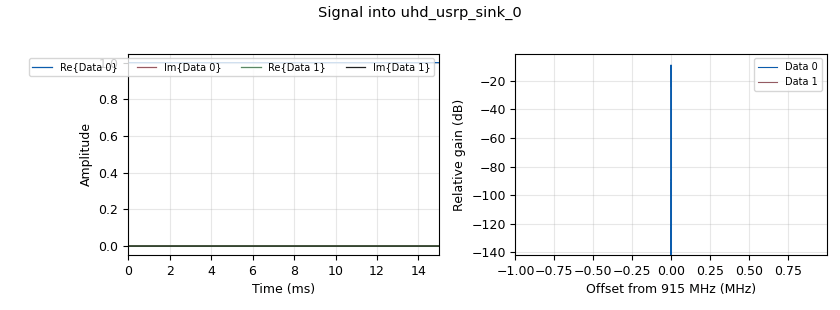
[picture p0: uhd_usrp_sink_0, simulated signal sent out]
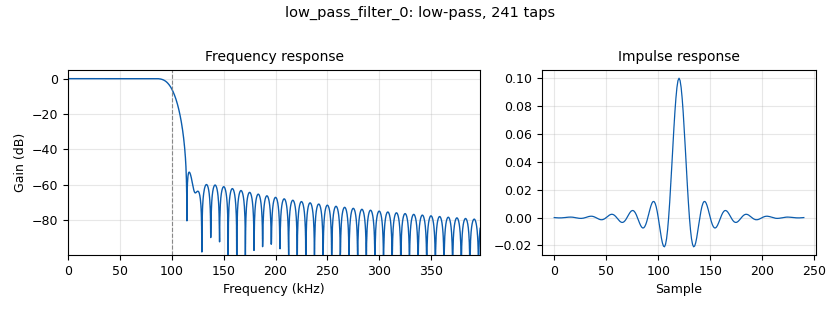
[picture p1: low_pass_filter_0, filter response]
options:
  parameters:
    generate_options: qt_gui
    id: mp_testing
    output_language: python
    title: Not titled yet
  states: {}

blocks:
- name: Decimation
  id: variable
  parameters:
    value: '20'
  states: {}
- name: FRx
  id: variable
  parameters:
    value: 2*FTx-RxShift
  states: {}
- name: FTx
  id: variable
  parameters:
    value: 915e6
  states: {}
- name: GRx
  id: variable_qtgui_entry
  parameters:
    label: Receive Gain [dBFS?]
    type: real
    value: '30'
  states: {}
- name: GTx
  id: variable_qtgui_entry
  parameters:
    label: Transmit Gain [dBFS?]
    type: real
    value: '60'
  states: {}
- name: Length
  id: variable
  parameters:
    value: '1024'
  states: {}
- name: RxShift
  id: variable
  parameters:
    value: 0.2e6
  states: {}
- name: StartSwp
  id: variable_qtgui_check_box
  parameters:
    'false': 'False'
    label: Start Sweep?
    'true': 'True'
    type: int
    value: 'False'
  states: {}
- name: Track
  id: variable_qtgui_check_box
  parameters:
    'false': 'False'
    label: Begin Tracking
    'true': 'True'
    type: int
    value: 'False'
  states: {}
- name: prefix
  id: variable_qtgui_entry
  parameters:
    label: File Name
    type: string
    value: Date_Test
  states: {}
- name: samp_rate_src
  id: variable
  parameters:
    value: 2e6
  states: {}
- name: analog_sig_source_x_0
  id: analog_sig_source_x
  parameters:
    amp: '1'
    freq: '0'
    offset: '0'
    phase: '0'
    samp_rate: samp_rate_src
    type: complex
    waveform: analog.GR_CONST_WAVE
  states: {}
- name: analog_sig_source_x_0_0
  id: analog_sig_source_x
  parameters:
    amp: '0'
    freq: '0'
    offset: '0'
    phase: '0'
    samp_rate: samp_rate_src
    type: complex
    waveform: analog.GR_CONST_WAVE
  states: {}
- name: analog_sig_source_x_1
  id: analog_sig_source_x
  parameters:
    amp: '0'
    freq: '0'
    offset: '0'
    phase: '0'
    samp_rate: samp_rate_src/Decimation
    type: float
    waveform: analog.GR_CONST_WAVE
  states: {}
- name: blocks_add_xx_0
  id: blocks_add_xx
  parameters:
    type: float
  states: {}
- name: blocks_add_xx_0_0
  id: blocks_add_xx
  parameters:
    type: float
  states: {}
- name: blocks_add_xx_0_0_0
  id: blocks_add_xx
  parameters:
    type: float
  states: {}
- name: blocks_add_xx_1
  id: blocks_add_xx
  parameters:
    type: complex
  states: {}
- name: blocks_complex_to_float_0
  id: blocks_complex_to_float
  parameters: {}
  states: {}
- name: blocks_complex_to_float_0_0
  id: blocks_complex_to_float
  parameters: {}
  states: {}
- name: blocks_complex_to_mag_squared_0
  id: blocks_complex_to_mag_squared
  parameters:
    vlen: Length
  states: {}
- name: blocks_complex_to_mag_squared_0_0
  id: blocks_complex_to_mag_squared
  parameters:
    vlen: Length
  states: {}
- name: blocks_complex_to_mag_squared_0_1
  id: blocks_complex_to_mag_squared
  parameters:
    vlen: Length
  states: {state: disabled}
- name: blocks_complex_to_mag_squared_0_1_0
  id: blocks_complex_to_mag_squared
  parameters:
    vlen: Length
  states: {}
- name: blocks_complex_to_mag_squared_0_1_0_0
  id: blocks_complex_to_mag_squared
  parameters:
    vlen: Length
  states: {}
- name: blocks_divide_xx_0
  id: blocks_divide_xx
  parameters:
    type: float
  states: {}
- name: blocks_divide_xx_0_0
  id: blocks_divide_xx
  parameters:
    type: float
  states: {}
- name: blocks_float_to_complex_0
  id: blocks_float_to_complex
  parameters: {}
  states: {state: disabled}
- name: blocks_freqshift_cc_0
  id: blocks_freqshift_cc
  parameters:
    freq: '-1*(RxShift)'
    sample_rate: samp_rate_src
  states: {}
- name: blocks_freqshift_cc_0_0
  id: blocks_freqshift_cc
  parameters:
    freq: '-1*RxShift'
    sample_rate: samp_rate_src
  states: {}
- name: blocks_max_xx_1
  id: blocks_max_xx
  parameters:
    type: float
    vlen: Length
    vlen_out: '1'
  states: {}
- name: blocks_max_xx_1_0
  id: blocks_max_xx
  parameters:
    type: float
    vlen: Length
    vlen_out: '1'
  states: {}
- name: blocks_max_xx_1_1
  id: blocks_max_xx
  parameters:
    type: float
    vlen: Length
    vlen_out: '1'
  states: {state: disabled}
- name: blocks_max_xx_1_1_0
  id: blocks_max_xx
  parameters:
    type: float
    vlen: Length
    vlen_out: '1'
  states: {}
- name: blocks_max_xx_1_1_0_0
  id: blocks_max_xx
  parameters:
    type: float
    vlen: Length
    vlen_out: '1'
  states: {}
- name: blocks_message_strobe_0
  id: blocks_message_strobe
  parameters:
    msg: pmt.intern("TEST")
    period: '100'
  states: {}
- name: blocks_multiply_const_xx_0
  id: blocks_multiply_const_xx
  parameters:
    const: 1/Length
    type: complex
    vlen: Length
  states: {}
- name: blocks_multiply_const_xx_0_0
  id: blocks_multiply_const_xx
  parameters:
    const: 1/Length
    type: complex
    vlen: Length
  states: {}
- name: blocks_multiply_const_xx_0_1
  id: blocks_multiply_const_xx
  parameters:
    const: 1/Length
    type: complex
    vlen: Length
  states: {state: disabled}
- name: blocks_multiply_const_xx_0_2
  id: blocks_multiply_const_xx
  parameters:
    const: 1/1024
    type: complex
    vlen: Length
  states: {}
- name: blocks_multiply_const_xx_0_2_0
  id: blocks_multiply_const_xx
  parameters:
    const: 1/1024
    type: complex
    vlen: Length
  states: {}
- name: blocks_multiply_xx_0
  id: blocks_multiply_xx
  parameters:
    type: float
  states: {}
- name: blocks_multiply_xx_0_0
  id: blocks_multiply_xx
  parameters:
    type: float
  states: {}
- name: blocks_multiply_xx_0_0_0
  id: blocks_multiply_xx
  parameters:
    type: float
  states: {}
- name: blocks_multiply_xx_0_0_0_0
  id: blocks_multiply_xx
  parameters:
    type: float
  states: {}
- name: blocks_multiply_xx_0_0_1
  id: blocks_multiply_xx
  parameters:
    type: float
  states: {}
- name: blocks_multiply_xx_0_1
  id: blocks_multiply_xx
  parameters:
    type: float
  states: {}
- name: blocks_multiply_xx_0_1_0
  id: blocks_multiply_xx
  parameters:
    type: float
  states: {}
- name: blocks_multiply_xx_0_2
  id: blocks_multiply_xx
  parameters:
    type: float
  states: {}
- name: blocks_nlog10_ff_0
  id: blocks_nlog10_ff
  parameters:
    k: '0'
    n: '10'
    vlen: Length
  states: {}
- name: blocks_nlog10_ff_0_0
  id: blocks_nlog10_ff
  parameters:
    k: '0'
    n: '10'
    vlen: Length
  states: {}
- name: blocks_nlog10_ff_0_1
  id: blocks_nlog10_ff
  parameters:
    k: '0'
    n: '10'
    vlen: Length
  states: {state: disabled}
- name: blocks_nlog10_ff_0_2
  id: blocks_nlog10_ff
  parameters:
    k: '0'
    n: '10'
    vlen: Length
  states: {}
- name: blocks_nlog10_ff_0_2_0
  id: blocks_nlog10_ff
  parameters:
    k: '0'
    n: '10'
    vlen: Length
  states: {}
- name: blocks_null_sink_0
  id: blocks_null_sink
  parameters:
    type: float
  states: {state: disabled}
- name: blocks_phase_shift_0
  id: blocks_phase_shift
  parameters:
    is_radians: 'True'
    shift: '0'
  states: {}
- name: blocks_phase_shift_0_0
  id: blocks_phase_shift
  parameters:
    is_radians: 'True'
    shift: '0'
  states: {}
- name: blocks_stream_to_vector_0
  id: blocks_stream_to_vector
  parameters:
    num_items: Length
    type: float
  states: {}
- name: blocks_stream_to_vector_0_0
  id: blocks_stream_to_vector
  parameters:
    num_items: Length
    type: float
  states: {}
- name: blocks_stream_to_vector_0_1
  id: blocks_stream_to_vector
  parameters:
    num_items: Length
    type: complex
  states: {state: disabled}
- name: blocks_stream_to_vector_0_2
  id: blocks_stream_to_vector
  parameters:
    num_items: Length
    type: complex
  states: {}
- name: blocks_stream_to_vector_0_2_0
  id: blocks_stream_to_vector
  parameters:
    num_items: Length
    type: complex
  states: {}
- name: blocks_sub_xx_0
  id: blocks_sub_xx
  parameters:
    type: float
  states: {}
- name: blocks_sub_xx_1
  id: blocks_sub_xx
  parameters:
    type: float
  states: {}
- name: blocks_sub_xx_2
  id: blocks_sub_xx
  parameters:
    type: complex
  states: {}
- name: epy_block_1
  id: epy_block
  parameters:
    BW: 1e3
    CenterFreq: 1.83e9
    Length: Length
    SignalFreq: 1.83e9
    _source_code: |
      """
      Embedded Python Blocks:

      Each time this file is saved, GRC will instantiate the first class it finds
      to get ports and parameters of your block. The arguments to __init__  will
      be the parameters. All of them are required to have default values!
      """

      import numpy as np
      from gnuradio import gr


      class PhaseDiff(gr.sync_block):  # other base classes are basic_block, decim_block, interp_block
          """Embedded Python Block example - a simple multiply const"""

          def __init__(self, Length = 1024,CenterFreq = 0,SignalFreq = 0,BW=0,samp_rate = 1000):  # only default arguments here
              """arguments to this function show up as parameters in GRC"""
              gr.sync_block.__init__(
                  self,
                  name='Calculate Phase Shift',   # will show up in GRC
                  in_sig=[(np.complex64, Length),(np.complex64, Length)],
                  out_sig=[np.float32]
              )
              # if an attribute with the same name as a parameter is found,
              # a callback is registered (properties work, too).
              
              self.signal_ind = int((Length/samp_rate)*(SignalFreq-CenterFreq)+Length/2)
              self.Start = int((Length/samp_rate)*(SignalFreq-CenterFreq-BW)+Length/2)
              print("Start Index: ",self.Start,"\n")
              self.End = int((Length/samp_rate)*(SignalFreq-CenterFreq+BW)+Length/2)
              print("Stop Index: ",self.End,"\n")
              self.Length =Length
              self.CenterFreq = CenterFreq
              self.SignalFreq = SignalFreq
              self.BW = BW
              self.samp_rate = samp_rate

          def work(self, input_items, output_items):
              #print("In0 size FFT @ f0:   ",np.shape(input_items[0][0][self.Start:self.End]),"\n")
              #print("In1 size FFT @ f0:   ",np.shape(input_items[1][0][self.Start:self.End]),"\n")
              if self.BW!=0:
                  crltn = np.correlate(input_items[0][0][self.Start:self.End],input_items[1][0][self.Start:self.End])
              else:
                  crltn = input_items[0][0][self.Start]*input_items[1][0][self.Start]
              #crltn = np.correlate(input_items[0][0][self.signal_ind],input_items[1][0][self.signal_ind])

              diff = np.angle(crltn)
             
              output_items[0][:] = diff

              return len(output_items[0])
    samp_rate: samp_rate_src/Decimation
  states: {}
- name: epy_block_2
  id: epy_block
  parameters:
    Spacing: '1'
    Tolerance: '0.01'
    Track: Track
    _source_code: |-
      """
      Embedded Python Blocks:

      Each time this file is saved, GRC will instantiate the first class it finds
      to get ports and parameters of your block. The arguments to __init__  will
      be the parameters. All of them are required to have default values!
      """

      import numpy as np
      from gnuradio import gr
      import pmt

      class Tracker(gr.sync_block):  # other base classes are basic_block, decim_block, interp_block
          """Controller to track signal by minimizing monopulse ratio. Input 1 should be the log magnitude of the monopulse
          ratio and Input 2 the phase shift between difference and sum. Input message (Ts) determines when
          controller is updated and should be polled regularly, actual message content is irrelevant. 
          Output phase is in radians and computed tracking angle in degrees, formatted for az/el sink.

          \n Inputs:
          \n Track - Boolean to activate/deactivate tracking
          \n Spacing - Element spacing in wavelengths 
          \n Tolerance - Phase tolerance for target lock"""

          def __init__(self, Track = False,Spacing = 0.5,Tolerance = 0.005,alpha = 0.1 ):  # only default arguments here
              """arguments to this function show up as parameters in GRC"""
              gr.sync_block.__init__(
                  self,
                  name='Tracking Controller',   # will show up in GRC
                  in_sig=[np.float32,np.float32],
                  out_sig=None
              )

              self.message_port_register_out(pmt.intern('phase'))
              self.message_port_register_out(pmt.intern('az'))
              self.message_port_register_out(pmt.intern('Lock'))
              self.message_port_register_out(pmt.intern('steer_angle'))

              self.message_port_register_in(pmt.intern('Ts'))

              self.set_msg_handler(pmt.intern('Ts'), self.handle_msg)

              # if an attribute with the same name as a parameter is found,
              # a callback is registered (properties work, too).
              self.Track = Track
              self.phase = 0          # Phase shift applied to steer beam
              self.Lock = False
              self.Spacing = Spacing
              self.Tolerance = Tolerance
              #self.null = null
              self.mp1 = 100
              self.alpha = alpha  
              
          def handle_msg(self,msg):
              ang_deg = np.rad2deg(np.arcsin(self.phase/(2*np.pi*self.Spacing)))
              self.message_port_pub(pmt.intern("az"), pmt.cons(pmt.to_pmt({"az": ang_deg, "el": 0}),pmt.to_pmt(None)))

              if self.Track:
                  self.message_port_pub(pmt.intern("phase"), pmt.cons(pmt.intern("shift"),pmt.to_pmt(self.phase)))
                  self.message_port_pub(pmt.intern("steer_angle"), pmt.cons(pmt.intern("ampl"),pmt.to_pmt(ang_deg)))
                  self.message_port_pub(pmt.intern("Lock"), pmt.cons(pmt.intern("ampl"),pmt.to_pmt(self.Lock)))

                  if self.Lock:
                      print("Target Found")
                  

              return

          def work(self, input_items, output_items):
              if self.Track:

                  self.Lock = False
                  # if (abs(input_items[1][0]) <self.Tolerance)and(input_items[0][0]< self.null):
                  #     self.Lock = True

                  # elif input_items[1][0]<0:
                  #     self.phase = self.phase-0.005
                  # elif input_items[1][0]>0:
                  #     self.phase = self.phase+0.005
                  # if abs(self.phase)>180:
                  #     print("Boundary reached, rotate array")
                  side = np.sign(input_items[1][0])

                  if input_items[0][0]<self.mp1:
                      self.phase +=side*self.alpha
                  self.mp1 = input_items[0][0]

              return len(input_items[0])
    alpha: '0.005'
  states: {}
- name: epy_block_3
  id: epy_block
  parameters:
    Average: '10'
    Prefix: prefix
    Spacing: '1'
    Start: '-30'
    Step: '0.5'
    Stop: '30'
    Sweep: StartSwp
    _source_code: |
      """
      Embedded Python Blocks:

      Each time this file is saved, GRC will instantiate the first class it finds
      to get ports and parameters of your block. The arguments to __init__  will
      be the parameters. All of them are required to have default values!
      """

      import numpy as np
      import pmt
      from gnuradio import gr


      class MPSweep(gr.sync_block):  
          """Sweep block to sweep phase and measure 4 quantities. Output is saved as two .npy files. 
          _x_out.npy contains the phase for each measurement and _data.npy has the input data stored 
          as a 4xn matrix where each row is the corresponding input. 
          \n Inputs:
          \n Sweep - Boolean, when true, sweep is initiated
          \n Start - Starting Value
          \n Stop - Ending Value
          \n Step - Resolution of sweep
          \n sample_buffer - This sets a number of data-buffers to be discarded in between measurements
          \n Average - Number of measurements to average when saveing data
          \n Prefix - String to append to the start of filename"""

          def __init__(self, Sweep = False,Start = 0,Stop =12,Step = 0.5,sample_buffer=10, Average = 1,Spacing = 1,Prefix = ""):  # only default arguments here
              """arguments to this function show up as parameters in GRC"""
              gr.sync_block.__init__(
                  self,
                  name='Sweep Controller 03',   
                  in_sig=[np.float32,np.float32,np.float32,np.float32],

                  out_sig=None
              )


              self.message_port_register_out(pmt.intern('out'))
              
              #self.message_port_register_in(pmt.intern('Value_Set'))
              #self.set_msg_handler(pmt.intern('Value_Set'), self.handle_msg)

              # if an attribute with the same name as a parameter is found,
              # a callback is registered (properties work, too).

              inputs = 4   # Used in construction only to define array sizes

              
              self.Sweep = Sweep
              self.Start = Start
              self.Spacing = Spacing
              self.Stop = Stop
              self.Step = Step
              self.Average = Average
              self.avgVec = np.empty((inputs,Average))
              #print("avgVec Size",self.avgVec.shape,"\n")
              self.Prefix = Prefix

              

              
              self.state = 0
              self.steering_angle = np.arange(self.Start,self.Stop+self.Step,self.Step)
              self.steering_phase = 2*np.pi*self.Spacing*np.sin(np.deg2rad(self.steering_angle))
              self.SwpVar = self.steering_phase[0]
              self.data = np.empty((inputs,len(self.steering_phase)))
              #print("data Size",self.data.shape,"\n")

              self.sample_buffer = sample_buffer
              self.counter  = sample_buffer
              self.index = 0


          def work(self, input_items, output_items):


              match self.state:
                  case 0:
                      if self.Sweep == True: #Log initial value
                          #self.message_port_pub(pmt.intern("out"), pmt.cons(pmt.intern("shift"),pmt.to_pmt(np.deg2rad(self.SwpVar))))
                          self.message_port_pub(pmt.intern("out"), pmt.cons(pmt.intern("shift"),pmt.to_pmt(self.SwpVar)))

                          self.counter = self.sample_buffer
                          self.state = 2  

                          print("\nDatapoints: ",len(self.steering_phase))
                          print("Size of Output: ",np.shape(self.data))
                          print("Running Sweep... \n")


                  case 1: # Update phase value

                          #self.SwpVar += self.Step
                          self.SwpVar = self.steering_phase[self.index]
                          #self.message_port_pub(pmt.intern("out"), pmt.cons(pmt.intern("shift"),pmt.to_pmt(np.deg2rad(self.SwpVar))))
                          self.message_port_pub(pmt.intern("out"), pmt.cons(pmt.intern("shift"),pmt.to_pmt(self.SwpVar)))

                          self.counter = self.sample_buffer
                          self.state = 2


                  case 2: #Wait for buffer time
                      self.counter -= 1
                      if self.counter < 0:
                          self.counter = self.Average
                          self.state = 5


                  case 5: #Average values
                      self.counter -= 1
                      in0 = np.sum(input_items[0])/len(input_items[0])#input_items[0][0]
                      in1 = np.sum(input_items[1])/len(input_items[1])#input_items[1][0]
                      in2 = np.sum(input_items[2])/len(input_items[2])#input_items[2][0]
                      in3 = np.sum(input_items[3])/len(input_items[3])#input_items[3][0]
                      self.avgVec[:,self.counter] = np.array([[in0],[in1],[in2],[in3]])[:,0]

                      if self.counter < 0:
                          self.state = 3

                  case 3: #Log value
                      #print("Phase",self.SwpVar,"\n")
                      #print("Sample Vector: ",self.avgVec,"\n")
                      avg = (np.divide(np.sum(self.avgVec,axis=1),len(self.avgVec[0,:])))
                      #print("Saving value:  ",avg.reshape(4,1),"\n")

                      self.data[:,self.index] = avg.reshape(4,1)[:,0]
                      #print("Saved:  ",self.data[:,self.index],"\n")
                      self.index+=1
                      #print("Index",self.index," of ",len(self.steering_phase),"\n")
                      if self.index>=len(self.steering_phase):
                          self.state = 4
                      else:
                          self.state = 1

                      
                  case 4: #Write data to files
                      out = np.concatenate((self.steering_phase.reshape(1,-1),self.data),axis=0)

                      np.save(f"{self.Prefix}_data.npy",out)

                      print("Data Saved! Sweep Complete \n")
                      
                      self.state = 6

                  case 6: # Wait for sweep to be reinitialized
                      if self.Sweep:
                          pass

                      else:
                          self.SwpVar = self.steering_phase[0]
                          #self.steering_phase = np.arange(self.Start,self.Stop+self.Step,self.Step)
                          #self.data = np.empty((inputs,len(self.steering_phase)))
                          #self.sample_buffer = sample_buffer
                          #self.counter  = sample_buffer

                          self.index = 0
                          print("Reset! Ready to sweep again\n")
                          self.state = 0
                          
              return len(input_items[0])
    sample_buffer: '5'
  states: {}
- name: epy_block_6
  id: epy_block
  parameters:
    Average: '3'
    Start: '0'
    Step: '5'
    Stop: '360'
    Sweep: StartSwp
    _source_code: |
      """
      Embedded Python Blocks:

      Each time this file is saved, GRC will instantiate the first class it finds
      to get ports and parameters of your block. The arguments to __init__  will
      be the parameters. All of them are required to have default values!
      """

      import numpy as np
      import pmt
      from gnuradio import gr


      class SweepControl(gr.sync_block):  # other base classes are basic_block, decim_block, interp_block
          """Sweep controller for CSB measurements"""

          def __init__(self, Sweep = False,Start = 0,Stop =12,Step = 0.5,sample_buffer=10, Average = 1,prefix = ""):  # only default arguments here
              """arguments to this function show up as parameters in GRC"""
              gr.sync_block.__init__(
                  self,
                  name='Sweep Controller',   # will show up in GRC
                  in_sig=[np.float32],
                  out_sig=None#,np.short]
              )

              self.message_port_register_out(pmt.intern('out'))
              #self.message_port_register_in(pmt.intern('Value_Set'))
              #self.set_msg_handler(pmt.intern('Value_Set'), self.handle_msg)

              # if an attribute with the same name as a parameter is found,
              # a callback is registered (properties work, too).
              self.Sweep = Sweep
              #self.Start = Start
              self.Stop = Stop
              self.Step = Step
              self.Average = Average
              self.avgVec = np.empty(Average)
              self.prefix = prefix

              

              self.SwpVar = Start
              self.state = 0
              self.xAxe = np.arange(Start,Stop,Step)
              self.data = np.empty(len(self.xAxe))#int((Stop-Start)/Step))
              self.sample_buffer = sample_buffer
              self.counter  = sample_buffer
              self.index = 0


          def work(self, input_items, output_items):


              match self.state:
                  case 0:
                      if self.Sweep == True:
                          self.state = 2  #Log initial value
                          self.message_port_pub(pmt.intern("out"), pmt.cons(pmt.intern("shift"),pmt.to_pmt(self.SwpVar)))
                          self.counter = self.sample_buffer

                      #output_items[0][:] = np.nan

                  case 1: #Data has been saved, adjust gain
                      #print("updating gain\n")
                      #if self.SwpVar >= self.Stop:
                          #self.state = 4

                      #else:
                          self.SwpVar += self.Step
                          self.message_port_pub(pmt.intern("out"), pmt.cons(pmt.intern("shift"),pmt.to_pmt(self.SwpVar)))
                          self.counter = self.sample_buffer
                          self.state = 2
                      #output_items[0][:] = np.nan

                  case 2: #Wait for buffer time
                     # print("waiting\n")
                      self.counter += -1
                      if self.counter < 0:
                          self.state = 5
                          self.counter = self.Average
                          #print("wait finished\n")
                      #output_items[0][:] = np.nan

                  case 5: #Average values
                      self.counter += -1
                      self.avgVec[self.counter] = input_items[0][0]

                      if self.counter < 0:
                          self.state = 3

                      #output_items[0][:] = np.nan

                  case 3: #Log value
                      print("Phase",self.SwpVar,"\n")
                      print("saving value",np.sum(self.avgVec)/len(self.avgVec),"\n")
                      self.data[self.index] = np.sum(self.avgVec)/len(self.avgVec)#input_items[0][0]
                      self.index+=1
                      print("Index",self.index," of ",len(self.data),"\n")
                      if self.index>=len(self.data):
                          self.state = 4
                      else:
                          self.state = 1

                      
                  case 4: #Do nothing
                      np.save(f"{self.prefix}_xout.npy",self.xAxe)
                      np.save(f"{self.prefix}_yout.npy",self.data)
                      print("Data Saved! Sweep Complete \n")
                      self. state = 6

                  case 6: # Do Nothing
                      pass

              return len(input_items[0])
    prefix: '"0812Diff"'
    sample_buffer: '20'
  states: {state: disabled}
- name: fft_vxx_0
  id: fft_vxx
  parameters:
    fft_size: Length
    forward: 'True'
    shift: 'True'
    type: float
    window: window.blackmanharris(Length)
  states: {}
- name: fft_vxx_0_0
  id: fft_vxx
  parameters:
    fft_size: Length
    forward: 'True'
    shift: 'True'
    type: float
    window: window.blackmanharris(Length)
  states: {}
- name: fft_vxx_0_1
  id: fft_vxx
  parameters:
    fft_size: Length
    forward: 'True'
    shift: 'True'
    type: complex
    window: window.blackmanharris(Length)
  states: {state: disabled}
- name: fft_vxx_0_2
  id: fft_vxx
  parameters:
    fft_size: Length
    forward: 'True'
    shift: 'True'
    type: complex
    window: window.blackmanharris(1024)
  states: {}
- name: fft_vxx_0_2_0
  id: fft_vxx
  parameters:
    fft_size: Length
    forward: 'True'
    shift: 'True'
    type: complex
    window: window.blackmanharris(1024)
  states: {}
- name: low_pass_filter_0
  id: low_pass_filter
  parameters:
    cutoff_freq: 100e3
    decim: Decimation
    gain: '1'
    samp_rate: samp_rate_src
    type: fir_filter_ccf
    width: 20e3
    win: window.WIN_HAMMING
  states: {}
- name: low_pass_filter_0_0
  id: low_pass_filter
  parameters:
    cutoff_freq: 100e3
    decim: Decimation
    gain: '1'
    samp_rate: samp_rate_src
    type: fir_filter_ccf
    width: 20e3
    win: window.WIN_HAMMING
  states: {}
- name: qtgui_freq_sink_x_0_1
  id: qtgui_freq_sink_x
  parameters:
    bw: samp_rate_src/Decimation
    fc: 2*FTx
    fftsize: '1024'
    name: '"Im{Monopulse Ratio}"'
    type: float
  states: {}
- name: qtgui_freq_sink_x_0_1_0
  id: qtgui_freq_sink_x
  parameters:
    bw: samp_rate_src/Decimation
    fc: 2*FTx
    fftsize: '1024'
    name: '"Monopulse Ratio"'
    type: complex
  states: {state: disabled}
- name: qtgui_freq_sink_x_1
  id: qtgui_freq_sink_x
  parameters:
    bw: samp_rate_src/Decimation
    fc: FRx+RxShift
    fftsize: '1024'
    label1: Source 1
    label2: Source 2
    name: '"Inputs"'
    nconnections: '2'
    type: complex
  states: {}
- name: qtgui_number_sink_2
  id: qtgui_number_sink
  parameters:
    graph_type: qtgui.NUM_GRAPH_NONE
    label1: Steering Angle
    type: float
    unit1: degrees
  states: {}
- name: uhd_usrp_sink_0
  id: uhd_usrp_sink
  parameters:
    ant0: '"TX/RX"'
    ant1: '"TX/RX"'
    center_freq0: FTx
    center_freq1: FTx
    gain0: GTx
    gain1: '-40'
    nchan: '2'
    samp_rate: samp_rate_src
    sync: pc_clock_next_pps
    type: fc32
  states: {}
- name: uhd_usrp_source_0
  id: uhd_usrp_source
  parameters:
    ant0: '"RX2"'
    ant1: '"RX2"'
    center_freq0: FRx
    center_freq1: FRx
    gain0: GRx
    gain1: GRx
    nchan: '2'
    rx_agc0: Disabled
    rx_agc1: Disabled
    samp_rate: samp_rate_src
    sync: sync
    type: fc32
  states: {}
- name: variable_qtgui_azelplot_0
  id: variable_qtgui_azelplot
  parameters: {}
  states: {}
- name: virtual_sink_0
  id: virtual_sink
  parameters:
    stream_id: Sweep_ph_msg
  states: {}
- name: virtual_sink_0_0
  id: virtual_sink
  parameters:
    stream_id: Full_Ratio
  states: {state: disabled}
- name: virtual_sink_1
  id: virtual_sink
  parameters:
    stream_id: Re_Ratio
  states: {}
- name: virtual_sink_10
  id: virtual_sink
  parameters:
    stream_id: Sum_LogMag
  states: {}
- name: virtual_sink_12
  id: virtual_sink
  parameters:
    stream_id: Ratio_sub
  states: {}
- name: virtual_sink_1_0
  id: virtual_sink
  parameters:
    stream_id: Diff
  states: {}
- name: virtual_sink_1_0_0
  id: virtual_sink
  parameters:
    stream_id: Sum
  states: {}
- name: virtual_sink_1_0_0_0
  id: virtual_sink
  parameters:
    stream_id: Input_1
  states: {}
- name: virtual_sink_1_0_1
  id: virtual_sink
  parameters:
    stream_id: Input_0
  states: {}
- name: virtual_sink_1_1
  id: virtual_sink
  parameters:
    stream_id: Diff_I
  states: {}
- name: virtual_sink_1_1_0
  id: virtual_sink
  parameters:
    stream_id: Sum_I
  states: {}
- name: virtual_sink_1_2
  id: virtual_sink
  parameters:
    stream_id: Diff_Q
  states: {}
- name: virtual_sink_1_2_0
  id: virtual_sink
  parameters:
    stream_id: Sum_Q
  states: {}
- name: virtual_sink_1_3
  id: virtual_sink
  parameters:
    stream_id: Im_Ratio
  states: {}
- name: virtual_sink_2
  id: virtual_sink
  parameters:
    stream_id: Phase_Shift
  states: {}
- name: virtual_sink_3
  id: virtual_sink
  parameters:
    stream_id: Diff_FFT
  states: {}
- name: virtual_sink_4
  id: virtual_sink
  parameters:
    stream_id: Sum_FFT
  states: {}
- name: virtual_sink_5
  id: virtual_sink
  parameters:
    stream_id: Track_ph_msg
  states: {}
- name: virtual_sink_6
  id: virtual_sink
  parameters:
    stream_id: Re_Ratio_LogMag
  states: {}
- name: virtual_sink_7
  id: virtual_sink
  parameters:
    stream_id: Im_Ratio_LogMag
  states: {}
- name: virtual_sink_8
  id: virtual_sink
  parameters:
    stream_id: Ratio_LogMag
  states: {state: disabled}
- name: virtual_sink_9
  id: virtual_sink
  parameters:
    stream_id: Diff_LogMag
  states: {}
- name: virtual_source_0
  id: virtual_source
  parameters:
    stream_id: Sweep_ph_msg
  states: {}
- name: virtual_source_0_0
  id: virtual_source
  parameters:
    stream_id: Im_Ratio
  states: {}
- name: virtual_source_0_0_0
  id: virtual_source
  parameters:
    stream_id: Re_Ratio
  states: {}
- name: virtual_source_0_0_0_0_0
  id: virtual_source
  parameters:
    stream_id: Im_Ratio
  states: {}
- name: virtual_source_0_0_0_1
  id: virtual_source
  parameters:
    stream_id: Full_Ratio
  states: {state: disabled}
- name: virtual_source_0_0_3
  id: virtual_source
  parameters:
    stream_id: Full_Ratio
  states: {state: disabled}
- name: virtual_source_0_1
  id: virtual_source
  parameters:
    stream_id: Track_ph_msg
  states: {}
- name: virtual_source_1_0
  id: virtual_source
  parameters:
    stream_id: Diff
  states: {}
- name: virtual_source_1_0_0
  id: virtual_source
  parameters:
    stream_id: Sum
  states: {}
- name: virtual_source_1_0_0_1
  id: virtual_source
  parameters:
    stream_id: Sum
  states: {}
- name: virtual_source_1_0_0_2
  id: virtual_source
  parameters:
    stream_id: Input_1
  states: {}
- name: virtual_source_1_0_0_3
  id: virtual_source
  parameters:
    stream_id: Input_0
  states: {}
- name: virtual_source_1_0_2
  id: virtual_source
  parameters:
    stream_id: Diff
  states: {}
- name: virtual_source_1_1
  id: virtual_source
  parameters:
    stream_id: Diff_I
  states: {}
- name: virtual_source_1_1_0
  id: virtual_source
  parameters:
    stream_id: Sum_I
  states: {}
- name: virtual_source_1_1_0_0
  id: virtual_source
  parameters:
    stream_id: Sum_I
  states: {}
- name: virtual_source_1_1_0_0_0
  id: virtual_source
  parameters:
    stream_id: Sum_I
  states: {}
- name: virtual_source_1_1_0_1
  id: virtual_source
  parameters:
    stream_id: Sum_I
  states: {}
- name: virtual_source_1_1_0_1_0
  id: virtual_source
  parameters:
    stream_id: Sum_I
  states: {}
- name: virtual_source_1_1_0_2
  id: virtual_source
  parameters:
    stream_id: Sum_I
  states: {}
- name: virtual_source_1_1_1
  id: virtual_source
  parameters:
    stream_id: Diff_Q
  states: {}
- name: virtual_source_1_2
  id: virtual_source
  parameters:
    stream_id: Diff_Q
  states: {}
- name: virtual_source_1_2_0
  id: virtual_source
  parameters:
    stream_id: Sum_Q
  states: {}
- name: virtual_source_1_2_0_0
  id: virtual_source
  parameters:
    stream_id: Sum_Q
  states: {}
- name: virtual_source_1_2_0_0_0
  id: virtual_source
  parameters:
    stream_id: Sum_Q
  states: {}
- name: virtual_source_1_2_0_1
  id: virtual_source
  parameters:
    stream_id: Sum_Q
  states: {}
- name: virtual_source_1_2_0_1_0
  id: virtual_source
  parameters:
    stream_id: Sum_Q
  states: {}
- name: virtual_source_1_2_0_2
  id: virtual_source
  parameters:
    stream_id: Sum_Q
  states: {}
- name: virtual_source_1_2_0_3_0_0_0
  id: virtual_source
  parameters:
    stream_id: Im_Ratio
  states: {state: disabled}
- name: virtual_source_1_2_0_3_0_1
  id: virtual_source
  parameters:
    stream_id: Re_Ratio
  states: {state: disabled}
- name: virtual_source_1_2_1
  id: virtual_source
  parameters:
    stream_id: Diff_I
  states: {}
- name: virtual_source_1_3
  id: virtual_source
  parameters:
    stream_id: Phase_Shift
  states: {}
- name: virtual_source_1_4
  id: virtual_source
  parameters:
    stream_id: Ratio_LogMag
  states: {state: disabled}
- name: virtual_source_2
  id: virtual_source
  parameters:
    stream_id: Diff_FFT
  states: {}
- name: virtual_source_2_0
  id: virtual_source
  parameters:
    stream_id: Diff_FFT
  states: {}
- name: virtual_source_3
  id: virtual_source
  parameters:
    stream_id: Sum_FFT
  states: {}
- name: virtual_source_3_0
  id: virtual_source
  parameters:
    stream_id: Sum_FFT
  states: {}
- name: virtual_source_5_0
  id: virtual_source
  parameters:
    stream_id: Re_Ratio_LogMag
  states: {}
- name: virtual_source_5_0_0
  id: virtual_source
  parameters:
    stream_id: Im_Ratio_LogMag
  states: {}
- name: virtual_source_5_0_1
  id: virtual_source
  parameters:
    stream_id: Phase_Shift
  states: {}
- name: virtual_source_5_0_2
  id: virtual_source
  parameters:
    stream_id: Ratio_sub
  states: {}
- name: virtual_source_6_0_0
  id: virtual_source
  parameters:
    stream_id: Im_Ratio_LogMag
  states: {}
- name: virtual_source_9
  id: virtual_source
  parameters:
    stream_id: Diff_LogMag
  states: {}
- name: virtual_source_9_0
  id: virtual_source
  parameters:
    stream_id: Sum_LogMag
  states: {}

connections:
- [analog_sig_source_x_0, '0', uhd_usrp_sink_0, '0']
- [analog_sig_source_x_0_0, '0', uhd_usrp_sink_0, '1']
- [analog_sig_source_x_1, '0', qtgui_number_sink_2, '0']
- [blocks_add_xx_0, '0', blocks_divide_xx_0, '0']
- [blocks_add_xx_0_0, '0', blocks_divide_xx_0, '1']
- [blocks_add_xx_0_0_0, '0', blocks_divide_xx_0_0, '1']
- [blocks_add_xx_1, '0', virtual_sink_1_0_0, '0']
- [blocks_complex_to_float_0, '0', virtual_sink_1_1, '0']
- [blocks_complex_to_float_0, '1', virtual_sink_1_2, '0']
- [blocks_complex_to_float_0_0, '0', virtual_sink_1_1_0, '0']
- [blocks_complex_to_float_0_0, '1', virtual_sink_1_2_0, '0']
- [blocks_complex_to_mag_squared_0, '0', blocks_nlog10_ff_0, '0']
- [blocks_complex_to_mag_squared_0_0, '0', blocks_nlog10_ff_0_0, '0']
- [blocks_complex_to_mag_squared_0_1, '0', blocks_nlog10_ff_0_1, '0']
- [blocks_complex_to_mag_squared_0_1_0, '0', blocks_nlog10_ff_0_2, '0']
- [blocks_complex_to_mag_squared_0_1_0_0, '0', blocks_nlog10_ff_0_2_0, '0']
- [blocks_divide_xx_0, '0', virtual_sink_1, '0']
- [blocks_divide_xx_0_0, '0', virtual_sink_1_3, '0']
- [blocks_float_to_complex_0, '0', virtual_sink_0_0, '0']
- [blocks_freqshift_cc_0, '0', low_pass_filter_0, '0']
- [blocks_freqshift_cc_0_0, '0', low_pass_filter_0_0, '0']
- [blocks_max_xx_1, '0', virtual_sink_6, '0']
- [blocks_max_xx_1_0, '0', virtual_sink_7, '0']
- [blocks_max_xx_1_1, '0', virtual_sink_8, '0']
- [blocks_max_xx_1_1_0, '0', virtual_sink_9, '0']
- [blocks_max_xx_1_1_0_0, '0', virtual_sink_10, '0']
- [blocks_message_strobe_0, strobe, epy_block_2, Ts]
- [blocks_multiply_const_xx_0, '0', blocks_complex_to_mag_squared_0, '0']
- [blocks_multiply_const_xx_0_0, '0', blocks_complex_to_mag_squared_0_0, '0']
- [blocks_multiply_const_xx_0_1, '0', blocks_complex_to_mag_squared_0_1, '0']
- [blocks_multiply_const_xx_0_2, '0', virtual_sink_3, '0']
- [blocks_multiply_const_xx_0_2_0, '0', virtual_sink_4, '0']
- [blocks_multiply_xx_0, '0', blocks_add_xx_0, '0']
- [blocks_multiply_xx_0_0, '0', blocks_add_xx_0, '1']
- [blocks_multiply_xx_0_0_0, '0', blocks_add_xx_0_0, '1']
- [blocks_multiply_xx_0_0_0_0, '0', blocks_add_xx_0_0_0, '1']
- [blocks_multiply_xx_0_0_1, '0', blocks_sub_xx_0, '1']
- [blocks_multiply_xx_0_1, '0', blocks_add_xx_0_0, '0']
- [blocks_multiply_xx_0_1_0, '0', blocks_add_xx_0_0_0, '0']
- [blocks_multiply_xx_0_2, '0', blocks_sub_xx_0, '0']
- [blocks_nlog10_ff_0, '0', blocks_max_xx_1, '0']
- [blocks_nlog10_ff_0_0, '0', blocks_max_xx_1_0, '0']
- [blocks_nlog10_ff_0_1, '0', blocks_max_xx_1_1, '0']
- [blocks_nlog10_ff_0_2, '0', blocks_max_xx_1_1_0, '0']
- [blocks_nlog10_ff_0_2_0, '0', blocks_max_xx_1_1_0_0, '0']
- [blocks_phase_shift_0, '0', virtual_sink_1_0_0_0, '0']
- [blocks_phase_shift_0_0, '0', virtual_sink_1_0_1, '0']
- [blocks_stream_to_vector_0, '0', fft_vxx_0, '0']
- [blocks_stream_to_vector_0_0, '0', fft_vxx_0_0, '0']
- [blocks_stream_to_vector_0_1, '0', fft_vxx_0_1, '0']
- [blocks_stream_to_vector_0_2, '0', fft_vxx_0_2, '0']
- [blocks_stream_to_vector_0_2_0, '0', fft_vxx_0_2_0, '0']
- [blocks_sub_xx_0, '0', blocks_divide_xx_0_0, '0']
- [blocks_sub_xx_1, '0', virtual_sink_12, '0']
- [blocks_sub_xx_2, '0', virtual_sink_1_0, '0']
- [epy_block_1, '0', virtual_sink_2, '0']
- [epy_block_2, az, variable_qtgui_azelplot_0, azel]
- [epy_block_2, phase, virtual_sink_5, '0']
- [epy_block_2, steer_angle, analog_sig_source_x_1, cmd]
- [epy_block_3, out, virtual_sink_0, '0']
- [fft_vxx_0, '0', blocks_multiply_const_xx_0, '0']
- [fft_vxx_0_0, '0', blocks_multiply_const_xx_0_0, '0']
- [fft_vxx_0_1, '0', blocks_multiply_const_xx_0_1, '0']
- [fft_vxx_0_2, '0', blocks_multiply_const_xx_0_2, '0']
- [fft_vxx_0_2_0, '0', blocks_multiply_const_xx_0_2_0, '0']
- [low_pass_filter_0, '0', blocks_phase_shift_0_0, '0']
- [low_pass_filter_0, '0', qtgui_freq_sink_x_1, '0']
- [low_pass_filter_0_0, '0', blocks_phase_shift_0, '0']
- [low_pass_filter_0_0, '0', qtgui_freq_sink_x_1, '1']
- [uhd_usrp_source_0, '0', blocks_freqshift_cc_0, '0']
- [uhd_usrp_source_0, '1', blocks_freqshift_cc_0_0, '0']
- [virtual_source_0, '0', blocks_phase_shift_0, shift]
- [virtual_source_0_0, '0', qtgui_freq_sink_x_0_1, '0']
- [virtual_source_0_0_0, '0', blocks_stream_to_vector_0, '0']
- [virtual_source_0_0_0_0_0, '0', blocks_stream_to_vector_0_0, '0']
- [virtual_source_0_0_0_1, '0', blocks_stream_to_vector_0_1, '0']
- [virtual_source_0_0_3, '0', qtgui_freq_sink_x_0_1_0, '0']
- [virtual_source_0_1, '0', blocks_phase_shift_0, shift]
- [virtual_source_1_0, '0', blocks_complex_to_float_0, '0']
- [virtual_source_1_0_0, '0', blocks_complex_to_float_0_0, '0']
- [virtual_source_1_0_0_1, '0', blocks_stream_to_vector_0_2_0, '0']
- [virtual_source_1_0_0_2, '0', blocks_add_xx_1, '1']
- [virtual_source_1_0_0_2, '0', blocks_sub_xx_2, '1']
- [virtual_source_1_0_0_3, '0', blocks_add_xx_1, '0']
- [virtual_source_1_0_0_3, '0', blocks_sub_xx_2, '0']
- [virtual_source_1_0_2, '0', blocks_stream_to_vector_0_2, '0']
- [virtual_source_1_1, '0', blocks_multiply_xx_0, '0']
- [virtual_source_1_1_0, '0', blocks_multiply_xx_0, '1']
- [virtual_source_1_1_0_0, '0', blocks_multiply_xx_0_1, '1']
- [virtual_source_1_1_0_0_0, '0', blocks_multiply_xx_0_1_0, '1']
- [virtual_source_1_1_0_1, '0', blocks_multiply_xx_0_1, '0']
- [virtual_source_1_1_0_1_0, '0', blocks_multiply_xx_0_1_0, '0']
- [virtual_source_1_1_0_2, '0', blocks_multiply_xx_0_2, '1']
- [virtual_source_1_1_1, '0', blocks_multiply_xx_0_2, '0']
- [virtual_source_1_2, '0', blocks_multiply_xx_0_0, '0']
- [virtual_source_1_2_0, '0', blocks_multiply_xx_0_0, '1']
- [virtual_source_1_2_0_0, '0', blocks_multiply_xx_0_0_0, '0']
- [virtual_source_1_2_0_0_0, '0', blocks_multiply_xx_0_0_0_0, '0']
- [virtual_source_1_2_0_1, '0', blocks_multiply_xx_0_0_0, '1']
- [virtual_source_1_2_0_1_0, '0', blocks_multiply_xx_0_0_0_0, '1']
- [virtual_source_1_2_0_2, '0', blocks_multiply_xx_0_0_1, '1']
- [virtual_source_1_2_0_3_0_0_0, '0', blocks_float_to_complex_0, '1']
- [virtual_source_1_2_0_3_0_1, '0', blocks_float_to_complex_0, '0']
- [virtual_source_1_2_1, '0', blocks_multiply_xx_0_0_1, '0']
- [virtual_source_1_3, '0', epy_block_2, '1']
- [virtual_source_1_4, '0', blocks_null_sink_0, '0']
- [virtual_source_2, '0', epy_block_1, '0']
- [virtual_source_2_0, '0', blocks_complex_to_mag_squared_0_1_0, '0']
- [virtual_source_3, '0', epy_block_1, '1']
- [virtual_source_3_0, '0', blocks_complex_to_mag_squared_0_1_0_0, '0']
- [virtual_source_5_0, '0', epy_block_3, '1']
- [virtual_source_5_0_0, '0', epy_block_3, '0']
- [virtual_source_5_0_1, '0', epy_block_3, '3']
- [virtual_source_5_0_2, '0', epy_block_3, '2']
- [virtual_source_6_0_0, '0', epy_block_2, '0']
- [virtual_source_9, '0', blocks_sub_xx_1, '0']
- [virtual_source_9_0, '0', blocks_sub_xx_1, '1']

metadata:
  file_format: 1
